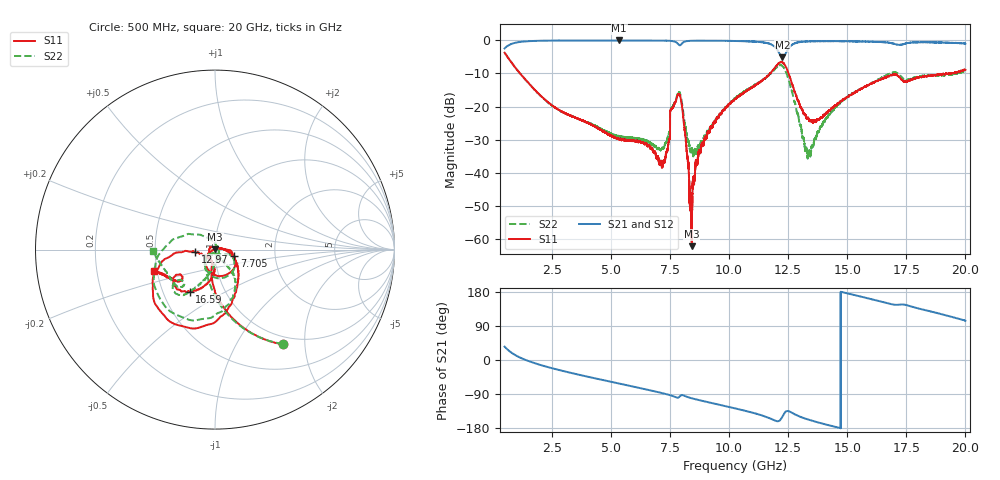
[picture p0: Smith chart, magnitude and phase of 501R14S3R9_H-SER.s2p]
!{501R14S3R9}
!Johanson Technology Inc.
!www.johansontechnology.com
!Test Board Conditions:
!Substrate Type  RO4350B
!Substrate Thickness  20 mil
!Substrate Dk  3.66
!TL Type: GCPW
!TL Trace Width  36 mil
!TL Gap  12 mil
!Electrode orientation  Horizontal
!DUT TOPOLOGY	SERIES
!Mounting Pad LxW  26x36 mil
! Created Wed Mar 11 15:59:53 2020
# mhz S ma R 50
! 2 Port Network Data from SP1.SP block
! freq  magS11  angS11  magS21  angS21  magS12  angS12  magS22  angS22
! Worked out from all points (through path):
!   19501 points, 500 MHz to 20 GHz, reference 50 ohm
!   highest |S21| = -0.05 dB at 5.352 GHz (marker M1); lowest = -5.1 dB at 12.26 GHz (marker M2)
!   group delay of S21, straight-line fit = 36.7 ps
!   lowest |S11| = -62.1 dB at 8.419 GHz (marker M3), VSWR 1.00, Z = 50 + j0.0664 ohm
!   |S11| at or under -10 dB: 1.153 GHz to 11.73 GHz (10.58 GHz wide, 164 % of centre); 12.52 GHz to 19.29 GHz (6.771 GHz wide, 42.6 % of centre); 19.33733 GHz to 19.38298 GHz (45.65 MHz wide, 0.236 % of centre)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
!   |S22| runs from -35.6 to -3.8 dB; largest |S21 - S12| = 0.02
!   S11 on the Smith chart (normalised r, x): 500 MHz: 0.87, -1.59; 7.705 GHz: 1.24, -0.09; 12.97 GHz: 0.80, -0.02; 16.59 GHz: 0.68, -0.35; 20 GHz: 0.48, -0.13
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500  0.6495 -54.3  0.7541 35.3  0.7547 35.3  0.6488 -54.2
1493  0.2307 -90.5  0.9681 -2.4  0.9665 -2.4  0.2301 -93.3
3750  0.06233 -109.5  0.9907 -40.4  0.9909 -40.4  0.0626 -150.6
5352  0.03224 -169.0  0.9943 -62.2  0.9914 -62.2  0.03569 -131.3
7000  0.01723 118.8  0.9904 -84.9  0.9897 -85.0  0.02368 -101.4
7322  0.01921 31.4  0.9861 -89.8  0.9865 -89.8  0.02853 -55.5
7705  0.1136 -19.3  0.9538 -97.2  0.9547 -97.1  0.1171 -27.3
7975  0.1198 -108.0  0.8685 -93.0  0.8689 -92.9  0.1326 -106.3
8419  0.0007863 57.6  0.9823 -101.0  0.9819 -100.9  0.02371 -111.3
8655  0.01411 28.7  0.9854 -104.7  0.9857 -104.7  0.02303 -86.4
8912  0.02749 15.0  0.987 -108.5  0.9864 -108.5  0.03201 -73.9
10250  0.1305 -28.0  0.975 -127.6  0.9761 -127.6  0.1333 -52.1
11686  0.3035 -71.6  0.8928 -152.8  0.8934 -152.8  0.3 -73.7
12259  0.4629 -128.5  0.5544 -149.0  0.5602 -149.3  0.4067 -139.8
12566  0.2827 -169.3  0.7955 -136.2  0.7978 -136.5  0.2247 163.4
12967  0.1126 -173.1  0.9375 -148.7  0.9386 -148.6  0.0597 113.3
13277  0.06678 -152.9  0.959 -155.8  0.9583 -155.7  0.02289 47.7
13500  0.06182 -133.2  0.9656 -160.1  0.9666 -160.1  0.02561 -25.0
14534  0.1049 -92.0  0.9701 -177.0  0.9708 -177.1  0.09806 -95.3
16595  0.2753 -121.1  0.9305 151.6  0.9259 151.5  0.2903 -122.4
16750  0.2857 -125.7  0.9225 149.2  0.9145 148.9  0.3078 -124.5
20000  0.3582 -161.0  0.8928 103.8  0.8938 104.0  0.3473 -179.0
